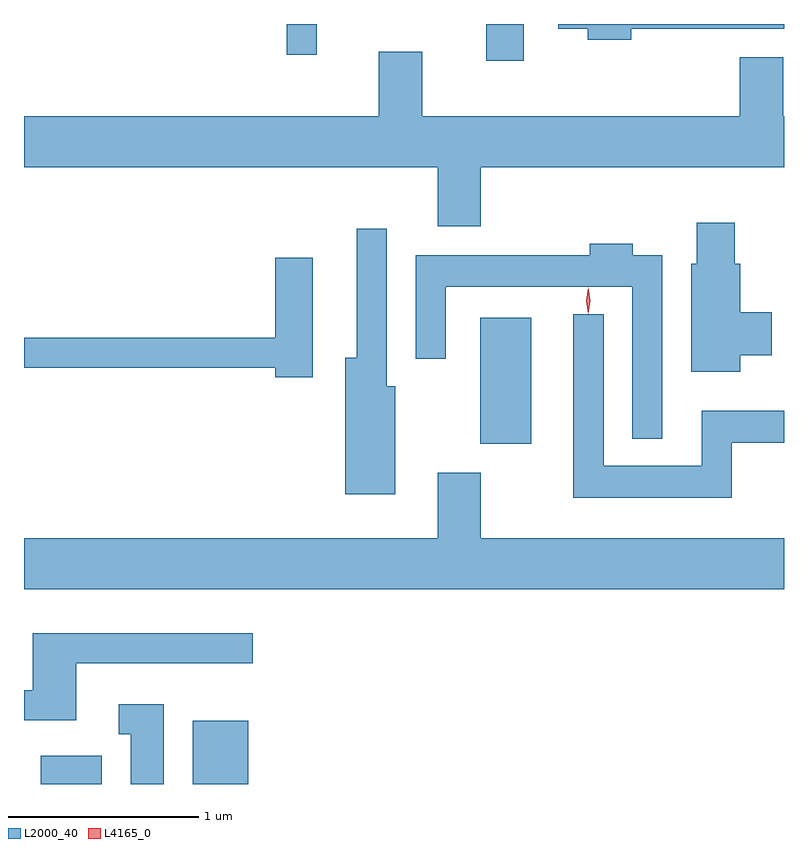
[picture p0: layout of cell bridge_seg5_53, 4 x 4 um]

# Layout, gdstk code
import gdstk
lib = gdstk.Library(unit=1e-6, precision=1e-09)
def R(c, l, rs):  # rectangles x0, y0, x1, y1
    for r in rs: c.add(gdstk.rectangle(r[:2], r[2:], *l))
def P(c, l, *ps):  # polygons
    for p in ps: c.add(gdstk.Polygon(p, *l))
L2000_40 = (2000, 40)
L4165_0 = (4165, 0)

bridge_seg5_53 = lib.new_cell('bridge_seg5_53')
R(bridge_seg5_53, L2000_40, [(1277.811,1469.09,1278.134,1469.239), (1278.611,1469.09,1278.904,1469.424), (1280.126,1470.881,1280.394,1471.544), (1280.156,1472.896,1280.354,1473.09), (1279.106,1472.928,1279.264,1473.09)])
P(bridge_seg5_53, L2000_40, [(1280.919,1473.066),(1281.724,1473.066),(1281.724,1473.09),(1280.536,1473.09),(1280.536,1473.066),(1280.691,1473.066),(1280.691,1473.006),(1280.919,1473.006)],
  [(1280.129,1472.336),(1281.724,1472.336),(1281.724,1472.604),(1281.719,1472.604),(1281.719,1472.914),(1281.491,1472.914),(1281.491,1472.604),(1279.819,1472.604),(1279.819,1472.944),(1279.591,1472.944),(1279.591,1472.604),(1277.724,1472.604),(1277.724,1472.336),(1279.901,1472.336),(1279.901,1472.026),(1280.129,1472.026)],
  [(1281.494,1471.346),(1281.659,1471.346),(1281.659,1471.574),(1281.494,1471.574),(1281.494,1471.829),(1281.464,1471.829),(1281.464,1472.044),(1281.266,1472.044),(1281.266,1471.829),(1281.236,1471.829),(1281.236,1471.261),(1281.494,1471.261)],
  [(1279.679,1471.184),(1279.634,1471.184),(1279.634,1472.013),(1279.476,1472.013),(1279.476,1471.334),(1279.416,1471.334),(1279.416,1470.616),(1279.679,1470.616)],
  [(1281.084,1471.874),(1280.929,1471.874),(1280.929,1471.934),(1280.701,1471.934),(1280.701,1471.874),(1279.786,1471.874),(1279.786,1471.328),(1279.944,1471.328),(1279.944,1471.706),(1280.926,1471.706),(1280.926,1470.908),(1281.084,1470.908)],
  [(1279.244,1471.859),(1279.046,1471.859),(1279.046,1471.439),(1277.724,1471.439),(1277.724,1471.281),(1279.046,1471.281),(1279.046,1471.231),(1279.244,1471.231)],
  [(1281.449,1470.886),(1281.724,1470.886),(1281.724,1471.054),(1281.291,1471.054),(1281.291,1470.764),(1280.774,1470.764),(1280.774,1471.563),(1280.616,1471.563),(1280.616,1470.596),(1281.449,1470.596)],
  [(1281.724,1470.384),(1280.129,1470.384),(1280.129,1470.729),(1279.901,1470.729),(1279.901,1470.384),(1277.724,1470.384),(1277.724,1470.116),(1281.724,1470.116)],
  [(1277.999,1469.726),(1278.928,1469.726),(1278.928,1469.884),(1277.771,1469.884),(1277.771,1469.584),(1277.724,1469.584),(1277.724,1469.426),(1277.999,1469.426)],
  [(1278.459,1469.509),(1278.223,1469.509),(1278.223,1469.351),(1278.286,1469.351),(1278.286,1469.09),(1278.459,1469.09)])
P(bridge_seg5_53, L4165_0, [(1280.695,1471.567),(1280.694,1471.568),(1280.685,1471.634),(1280.694,1471.7),(1280.695,1471.701),(1280.695,1471.7),(1280.705,1471.634),(1280.695,1471.568)],
  [(1280.694,1471.564),(1280.694,1471.564),(1280.684,1471.634),(1280.694,1471.702),(1280.694,1471.703),(1280.695,1471.702),(1280.704,1471.634),(1280.695,1471.564)])

lib.write_gds('bridge_seg5_53.gds')
